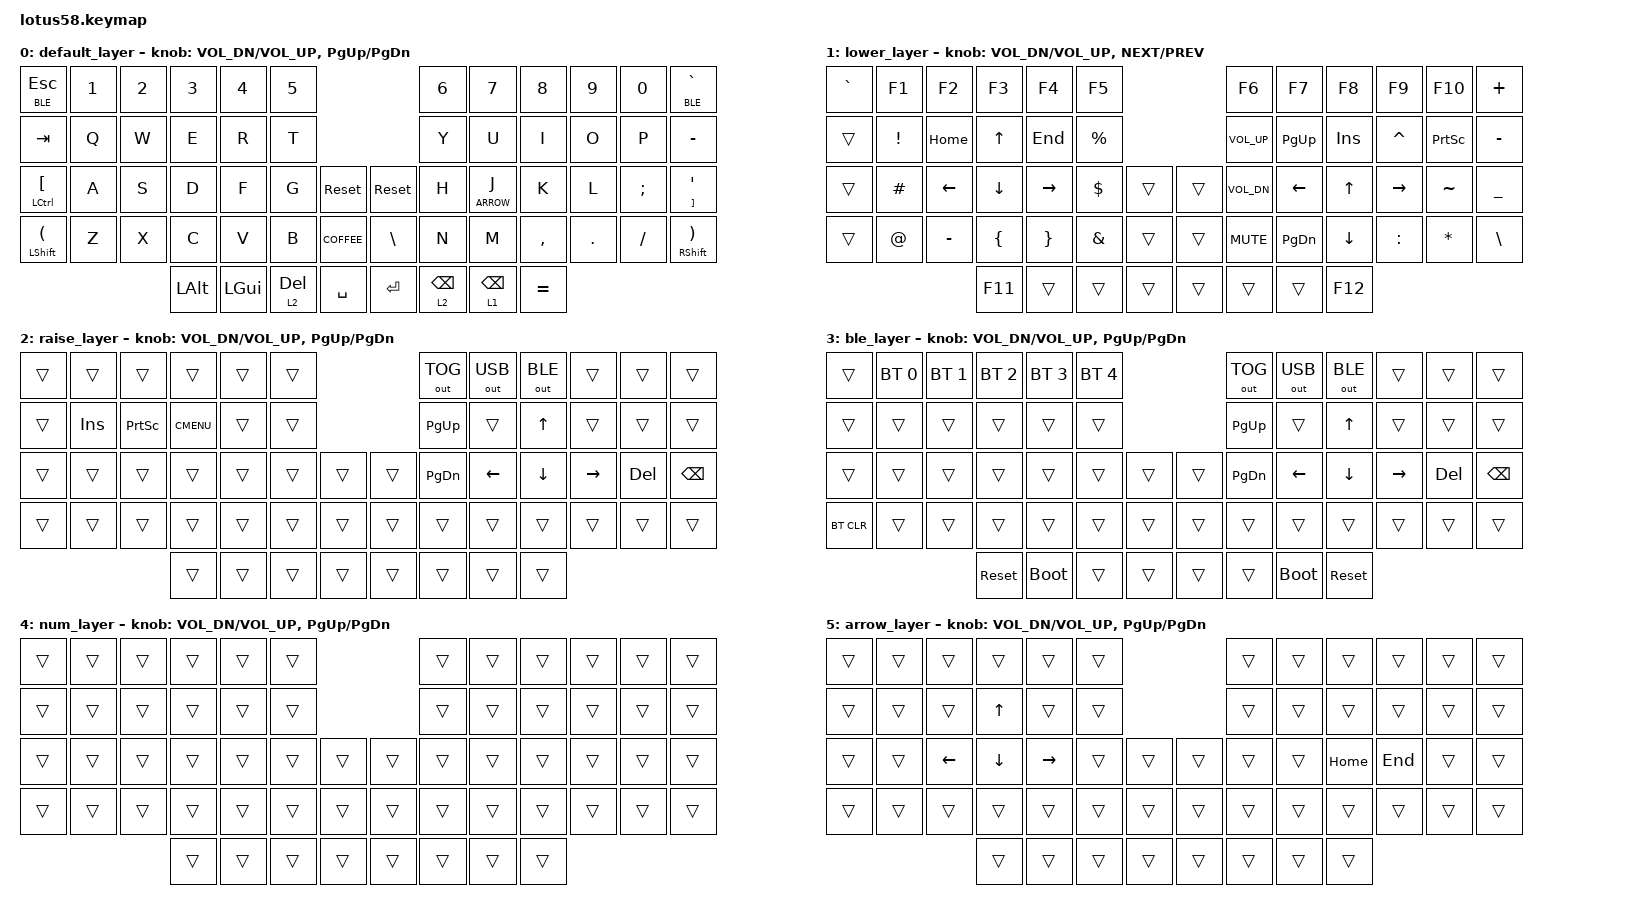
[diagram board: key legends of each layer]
/*
 * Copyright (c) 2022 The ZMK Contributors
 *
 * SPDX-License-Identifier: MIT
 */

#include <behaviors.dtsi>
#include <dt-bindings/zmk/keys.h>
#include <dt-bindings/zmk/bt.h>
#include <dt-bindings/zmk/outputs.h>
#include <dt-bindings/zmk/ext_power.h>

#define DEFAULT 0
#define LOWER   1
#define RAISE   2
#define BLE     3
#define NUM     4
#define ARROW   5

/ {
    combos {
        compatible = "zmk,combos";
        combo_dsklg {
            timeout-ms = <100>;
            key-positions = <24 52>;
            layers = <0>;
            bindings = <&kp LGUI>;
        };        
    };

    keymap {
        compatible = "zmk,keymap";

        default_layer {
//   ------------------------------------------------------------------------------------------------------------
//  0|  ESC  |  1  |  2  |  3   |  4   |  5   |                     |  6   |  7    |  8    |  9   |   0   |   =   | 11
// 12|  TAB  |  Q  |  W  |  E   |  R   |  T   |                     |  Y   |  U    |  I    |  O   |   P   |   [   | 23
// 24|  CTRL |  A  |  S  |  D   |  F   |  G   |  RESET  |  | RESET  |  H   |  J    |  K    |  L   |   ;   | ' SFT | 37
// 38|  SHFT ( |  Z  |  X  |  C   |  V   |  B   |  MUTE   |  | PLAY   |  N   |  M    |  ,    |  .   |   /   | \ CTRL| 51
// 52                    |ENT RS|  ALT | SPACE|DELETE LW|  |ENTER RS| BSPC |  ] LW | RGUI  |                        59
            bindings = <
&lt BLE ESC   &kp N1 &kp N2   &kp N3     &kp N4   &kp N5                               &kp N6    &kp N7      &kp N8    &kp N9   &kp N0   &lt BLE GRAVE
&kp TAB   &kp Q  &kp W    &kp E      &kp R     &kp T                                &kp Y     &kp U       &kp I     &kp O    &kp P    &kp MINUS
&mt LCTRL LBKT &kp A  &kp S   &kp D      &kp F   &kp G      &sys_reset         &sys_reset     &kp H     &lt ARROW J       &kp K     &kp L    &kp SEMI &mt RBKT SQT
&mt LSHFT LPAR &kp Z  &kp X    &kp C      &kp V     &kp B      &kp K_COFFEE         &kp BSLH     &kp N     &kp M       &kp COMMA &kp DOT  &kp FSLH &mt RSHFT RPAR
                          &kp LALT   &kp LGUI  &lt 2 DEL   &kp SPACE     &kp ENTER  &lt 2 BSPC  &lt 1 BSPC  &kp EQUAL  
            >;  

            sensor-bindings = <&inc_dec_kp C_VOL_DN C_VOL_UP &inc_dec_kp PG_UP PG_DN>;
        };

        lower_layer {
// ------------------------------------------------------------------------------------------------------------
// | `     |  F1 |  F2 |  F3  |  F4  |  F5  |                   |  F6  |  F7   |  F8   |  F9  |  F10  |  F11  |
// |       |  !  | HOME|   ^  |  END |  %   |                   | VOL^ |  PGUP |  INS  |  ^   |  PSCR |   -   |
// |       |  #  |  <- |   v  | ->   |  $   |        |  |       | VOLv |    <- |   ^   |  ->  |   ~   |   _   |
// |       |  @  |  -  |  (   |  )   |  &   |        |  |       | MUTE |  PGDN |   v   |  :   |   *   |   |   |
//                     |  F11 |      |      |        |  |       |      |       |  F12  |       
            bindings = <
&kp GRAVE  &kp F1    &kp F2    &kp F3      &kp F4     &kp F5                     &kp F6        &kp F7     &kp F8    &kp F9     &kp F10   &kp PLUS
&trans     &kp EXCL  &kp HOME  &kp UP      &kp END    &kp PRCNT                  &kp C_VOL_UP  &kp PG_UP  &kp INS   &kp CARET  &kp PSCRN &kp MINUS
&trans     &kp HASH  &kp LEFT  &kp DOWN    &kp RIGHT  &kp DLLR  &trans   &trans  &kp C_VOL_DN  &kp LEFT   &kp UP    &kp RIGHT  &kp TILDE &kp UNDER
&trans     &kp AT    &kp MINUS &kp LBRC    &kp RBRC   &kp AMPS  &trans   &trans  &kp C_MUTE    &kp PG_DN  &kp DOWN  &kp COLON  &kp STAR  &kp BSLH
                               &kp F11     &trans     &trans    &trans   &trans  &trans        &trans     &kp F12
            >;

            sensor-bindings = <&inc_dec_kp C_VOL_DN C_VOL_UP &inc_dec_kp C_NEXT C_PREV>;
        };

        raise_layer {
// ------------------------------------------------------------------------------------------------------------
// |BTCLR| BT1  | BT2  |  BT3  |  BT4  |  BT5 |                |OUTTOG|OUTUSB| OUTBT |      | RESET | FLASH |
// |     | INS  | PSCR | GUI   | RESET |      |                | PGUP |      |   ^   |      |       |       |
// |     | ALT  | CTRL | SHIFT | FLASH | CAPS |      |  |      | PGDN |   <- |   v   |  ->  |  DEL  | BSPC  |
// |     | UNDO | CUT  | COPY  | PASTE |      |      |  |      |      |  |>  |  <|<| | |>|> |       |       |
//                     |       |       |      |      |  |      |      |      |       |       
            bindings = <
&trans      &trans      &trans      &trans      &trans      &trans                    &out OUT_TOG  &out OUT_USB  &out OUT_BLE  &trans     &trans  &trans
&trans      &kp INS     &kp PSCRN   &kp K_CMENU &trans      &trans                          &kp PG_UP     &trans        &kp UP        &trans     &trans  &trans
&trans      &trans      &trans      &trans      &trans      &trans     &trans   &trans    &kp PG_DN     &kp LEFT      &kp DOWN      &kp RIGHT  &kp DEL &kp BSPC
&trans      &trans      &trans      &trans      &trans      &trans       &trans   &trans    &trans        &trans      &trans    &trans          &trans  &trans
                                     &trans       &trans       &trans       &trans   &trans    &trans        &trans        &trans   
            >;

            sensor-bindings = <&inc_dec_kp C_VOL_DN C_VOL_UP &inc_dec_kp PG_UP PG_DN>;
        };

        ble_layer {
// ------------------------------------------------------------------------------------------------------------
// |BTCLR| BT1  | BT2  |  BT3  |  BT4  |  BT5 |                |OUTTOG|OUTUSB| OUTBT |      | RESET | FLASH |
// |     | INS  | PSCR | GUI   | RESET |      |                | PGUP |      |   ^   |      |       |       |
// |     | ALT  | CTRL | SHIFT | FLASH | CAPS |      |  |      | PGDN |   <- |   v   |  ->  |  DEL  | BSPC  |
// |     | UNDO | CUT  | COPY  | PASTE |      |      |  |      |      |  |>  |  <|<| | |>|> |       |       |
//                     |       |       |      |      |  |      |      |      |       |       
            bindings = <
&trans      &bt BT_SEL 0 &bt BT_SEL 1 &bt BT_SEL 2  &bt BT_SEL 3 &bt BT_SEL 4                       &out OUT_TOG  &out OUT_USB  &out OUT_BLE  &trans     &trans  &trans
&trans      &trans       &trans       &trans        &trans       &trans                             &kp PG_UP     &trans        &kp UP        &trans     &trans  &trans
&trans      &trans       &trans       &trans        &trans       &trans     &trans      &trans      &kp PG_DN     &kp LEFT      &kp DOWN      &kp RIGHT  &kp DEL &kp BSPC
&bt BT_CLR  &trans       &trans       &trans        &trans       &trans     &trans      &trans      &trans        &trans        &trans        &trans     &trans  &trans
                                      &sys_reset        &bootloader  &trans     &trans      &trans      &trans        &bootloader        &sys_reset   
            >;

            sensor-bindings = <&inc_dec_kp C_VOL_DN C_VOL_UP &inc_dec_kp PG_UP PG_DN>;
        };
        num_layer {
// ------------------------------------------------------------------------------------------------------------
// |BTCLR| BT1  | BT2  |  BT3  |  BT4  |  BT5 |                |OUTTOG|OUTUSB| OUTBT |      | RESET | FLASH |
// |     | INS  | PSCR | GUI   | RESET |      |                | PGUP |      |   ^   |      |       |       |
// |     | ALT  | CTRL | SHIFT | FLASH | CAPS |      |  |      | PGDN |   <- |   v   |  ->  |  DEL  | BSPC  |
// |     | UNDO | CUT  | COPY  | PASTE |      |      |  |      |      |  |>  |  <|<| | |>|> |       |       |
//                     |       |       |      |      |  |      |      |      |       |       
            bindings = <
&trans      &trans       &trans       &trans        &trans       &trans                             &trans      &trans       &trans       &trans        &trans       &trans
&trans      &trans       &trans       &trans        &trans       &trans                             &trans      &trans       &trans       &trans        &trans       &trans
&trans      &trans       &trans       &trans        &trans       &trans     &trans      &trans      &trans      &trans       &trans       &trans        &trans       &trans
&trans      &trans       &trans       &trans        &trans       &trans     &trans      &trans      &trans      &trans       &trans       &trans        &trans       &trans
                                      &trans        &trans       &trans     &trans      &trans      &trans      &trans       &trans   
            >;

            sensor-bindings = <&inc_dec_kp C_VOL_DN C_VOL_UP &inc_dec_kp PG_UP PG_DN>;
        };
        arrow_layer {
// ------------------------------------------------------------------------------------------------------------
// |BTCLR| BT1  | BT2  |  BT3  |  BT4  |  BT5 |                |OUTTOG|OUTUSB| OUTBT |      | RESET | FLASH |
// |     | INS  | PSCR | GUI   | RESET |      |                | PGUP |      |   ^   |      |       |       |
// |     | ALT  | CTRL | SHIFT | FLASH | CAPS |      |  |      | PGDN |   <- |   v   |  ->  |  DEL  | BSPC  |
// |     | UNDO | CUT  | COPY  | PASTE |      |      |  |      |      |  |>  |  <|<| | |>|> |       |       |
//                     |       |       |      |      |  |      |      |      |       |       
            bindings = <
&trans      &trans       &trans       &trans        &trans       &trans                             &trans      &trans       &trans       &trans        &trans       &trans
&trans      &trans       &trans       &kp UP        &trans       &trans                             &trans      &trans       &trans       &trans        &trans       &trans
&trans      &trans       &kp LEFT     &kp DOWN      &kp RIGHT    &trans     &trans      &trans      &trans      &trans       &kp HOME     &kp END       &trans       &trans
&trans      &trans       &trans       &trans        &trans       &trans     &trans      &trans      &trans      &trans       &trans       &trans        &trans       &trans
                                      &trans        &trans       &trans     &trans      &trans      &trans      &trans       &trans   
            >;

            sensor-bindings = <&inc_dec_kp C_VOL_DN C_VOL_UP &inc_dec_kp PG_UP PG_DN>;
        };
    };
};

/*
trans_layer {
// ------------------------------------------------------------------------------------------------------------
// |BTCLR| BT1  | BT2  |  BT3  |  BT4  |  BT5 |                |OUTTOG|OUTUSB| OUTBT |      | RESET | FLASH |
// |     | INS  | PSCR | GUI   | RESET |      |                | PGUP |      |   ^   |      |       |       |
// |     | ALT  | CTRL | SHIFT | FLASH | CAPS |      |  |      | PGDN |   <- |   v   |  ->  |  DEL  | BSPC  |
// |     | UNDO | CUT  | COPY  | PASTE |      |      |  |      |      |  |>  |  <|<| | |>|> |       |       |
//                     |       |       |      |      |  |      |      |      |       |       
            bindings = <
&trans      &trans       &trans       &trans        &trans       &trans                             &trans      &trans       &trans       &trans        &trans       &trans
&trans      &trans       &trans       &trans        &trans       &trans                             &trans      &trans       &trans       &trans        &trans       &trans
&trans      &trans       &trans       &trans        &trans       &trans     &trans      &trans      &trans      &trans       &trans       &trans        &trans       &trans
&trans      &trans       &trans       &trans        &trans       &trans     &trans      &trans      &trans      &trans       &trans       &trans        &trans       &trans
                                      &trans        &trans       &trans     &trans      &trans      &trans      &trans       &trans   
            >;

            sensor-bindings = <&inc_dec_kp C_VOL_DN C_VOL_UP &inc_dec_kp PG_UP PG_DN>;
        };
        */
